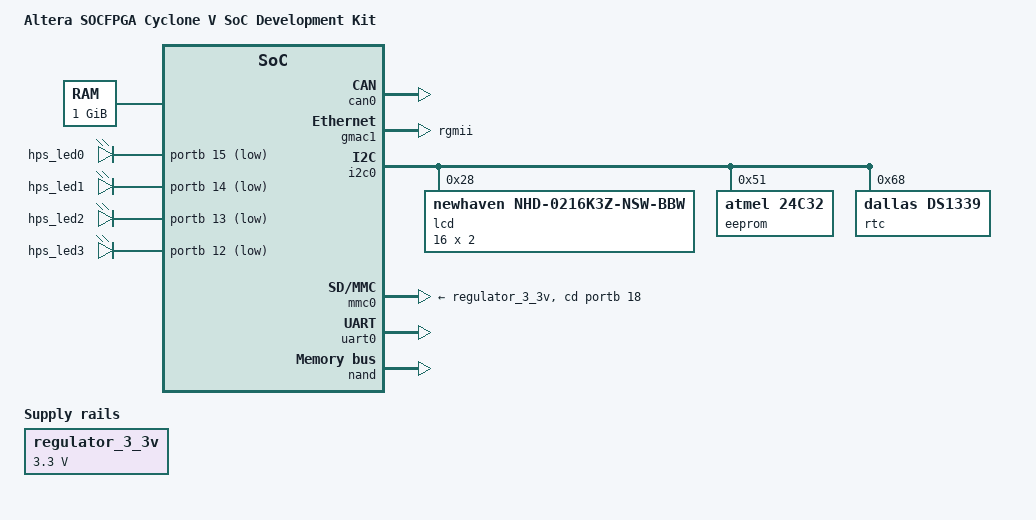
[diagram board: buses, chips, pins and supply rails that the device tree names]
/*
 * Copyright Altera Corporation (C) 2012,2014. All rights reserved.
 *
 * This program is free software; you can redistribute it and/or modify
 * it under the terms and conditions of the GNU General Public License,
 * version 2, as published by the Free Software Foundation.
 *
 * This program is distributed in the hope it will be useful, but WITHOUT
 * ANY WARRANTY; without even the implied warranty of MERCHANTABILITY or
 * FITNESS FOR A PARTICULAR PURPOSE.  See the GNU General Public License for
 * more details.
 *
 * You should have received a copy of the GNU General Public License along with
 * this program.  If not, see <http://www.gnu.org/licenses/>.
 */

#include "socfpga_cyclone5.dtsi"

/ {
	model = "Altera SOCFPGA Cyclone V SoC Development Kit";
	compatible = "altr,socfpga-cyclone5", "altr,socfpga";

	chosen {
		bootargs = "console=ttyS0,115200";
	};

	memory {
		name = "memory";
		device_type = "memory";
		reg = <0x0 0x40000000>; /* 1GB */
	};

	aliases {
		/* this allow the ethaddr uboot environmnet variable contents
		 * to be added to the gmac1 device tree blob.
		 */
		ethernet0 = &gmac1;
	};

	regulator_3_3v: 3-3-v-regulator {
		compatible = "regulator-fixed";
		regulator-name = "3.3V";
		regulator-min-microvolt = <3300000>;
		regulator-max-microvolt = <3300000>;
	};

	leds {
		compatible = "gpio-leds";
		hps0 {
			label = "hps_led0";
			gpios = <&portb 15 1>;
		};

		hps1 {
			label = "hps_led1";
			gpios = <&portb 14 1>;
		};

		hps2 {
			label = "hps_led2";
			gpios = <&portb 13 1>;
		};

		hps3 {
			label = "hps_led3";
			gpios = <&portb 12 1>;
		};
	};
};

&can0 {
	status = "okay";
};

&gmac1 {
	status = "okay";
	phy-mode = "rgmii";

	rxd0-skew-ps = <0>;
	rxd1-skew-ps = <0>;
	rxd2-skew-ps = <0>;
	rxd3-skew-ps = <0>;
	txen-skew-ps = <0>;
	txc-skew-ps = <2600>;
	rxdv-skew-ps = <0>;
	rxc-skew-ps = <2000>;
	max-frame-size = <3800>;
};

&gpio0 {
	status = "okay";
};

&gpio1 {
	status = "okay";
};

&gpio2 {
	status = "okay";
};

&i2c0 {
	status = "okay";
	speed-mode = <0>;

	/*
	 * adjust the falling times to decrease the i2c frequency to 50Khz
	 * because the LCD module does not work at the standard 100Khz
	 */
	i2c-sda-falling-time-ns = <5000>;
	i2c-scl-falling-time-ns = <5000>;

	lcd: lcd@28 {
		compatible = "newhaven,nhd-0216k3z-nsw-bbw";
		reg = <0x28>;
		height = <2>;
		width = <16>;
		brightness = <8>;
	};

	eeprom@51 {
		compatible = "atmel,24c32";
		reg = <0x51>;
		pagesize = <32>;
	};

	rtc@68 {
		compatible = "dallas,ds1339";
		reg = <0x68>;
	};
};

&mmc0 {
	cd-gpios = <&portb 18 0>;
	vmmc-supply = <&regulator_3_3v>;
	vqmmc-supply = <&regulator_3_3v>;
};

&uart0 {
	status = "okay";
};

&osc1 {
	clock-frequency = <19200000>;
};

&nand {
	status = "okay";
};

